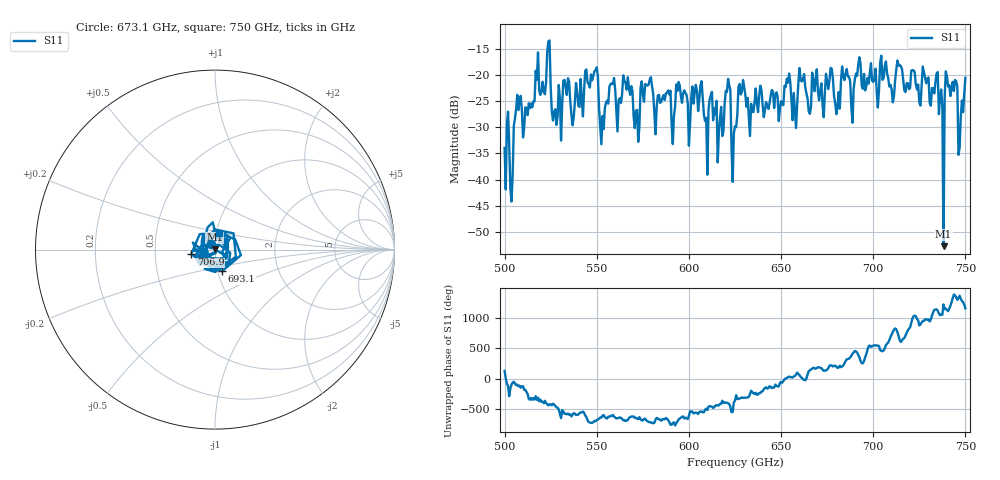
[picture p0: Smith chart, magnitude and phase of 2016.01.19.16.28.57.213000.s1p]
!Created with skrf (http://scikit-rf.org).
# GHz S RI R 50.0
!freq ReS11 ImS11
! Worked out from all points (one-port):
!   401 points, 500 GHz to 750 GHz, reference 50 ohm
!   lowest |S11| = -52.7 dB at 738.1 GHz (marker M1), VSWR 1.00, Z = 49.8 + j0.148 ohm
!   |S11| at or under -10 dB: start of sweep to end of sweep
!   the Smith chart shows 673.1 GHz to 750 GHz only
!   S11 on the Smith chart (normalised r, x): 673.1 GHz: 0.95, +0.06; 693.1 GHz: 1.05, -0.26; 706.9 GHz: 0.77, -0.04; 750 GHz: 1.03, +0.19
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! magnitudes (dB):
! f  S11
! 500 GHz  -34.0
! 503.8 GHz  -44.2
! 507.5 GHz  -26.7
! 511.2 GHz  -26.2
! 523.8 GHz  -13.6
! 526.9 GHz  -27.0
! 531.2 GHz  -25.6
! 549.4 GHz  -19.1
! 552.5 GHz  -33.2
! 558.1 GHz  -21.6
! 562.5 GHz  -24.5
! 593.8 GHz  -23.0
! 616.9 GHz  -28.2
! 621.2 GHz  -20.7
! 625 GHz  -29.8
! 628.1 GHz  -23.7
! 633.8 GHz  -25.5
! 656.2 GHz  -28.7
! 673.1 GHz  -28.1
! 687.5 GHz  -21.3
! 693.1 GHz  -17.9
! 706.9 GHz  -17.4
! 718.8 GHz  -21.6
! 733.8 GHz  -21.5
! 738.1 GHz  -52.7
! 740 GHz  -20.3
! 747.5 GHz  -27.9
! 750 GHz  -20.5
